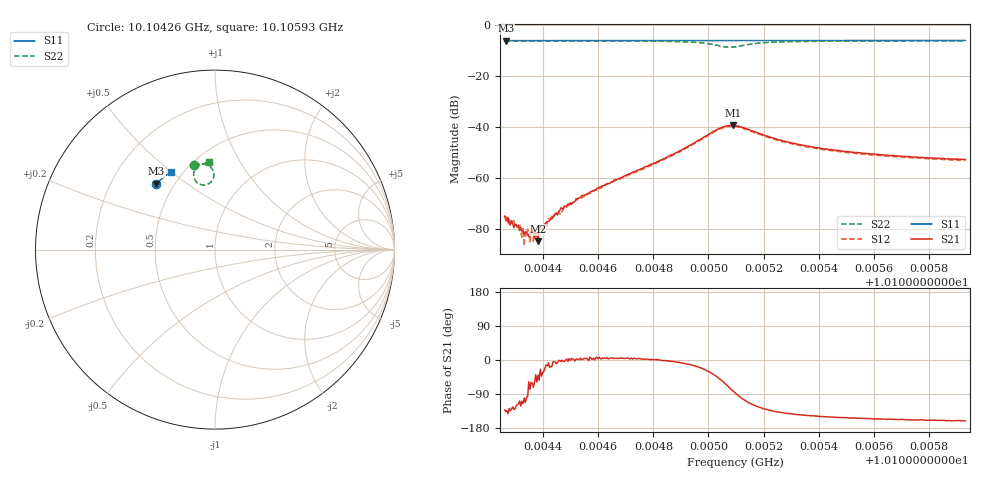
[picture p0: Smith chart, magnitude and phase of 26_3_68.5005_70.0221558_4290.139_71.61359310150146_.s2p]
#  HZ  S  RI  R  50.00
! Rohde & Schwarz Vector Network Analyzer
! Rohde-Schwarz,ZNB20-2Port,1311601062101988,3.16
! Created: UTC 3/20/2024, 4:49:44 PM
! freq[Hz]  re:S11  im:S11  re:S21  im:S21  re:S12  im:S12  re:S22  im:S22
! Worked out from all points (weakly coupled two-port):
!   401 points, 10.10426 GHz to 10.10593 GHz, reference 50 ohm
!   highest |S21| = -39.41 dB at 10.10509 GHz (marker M1); lowest = -84.9 dB at 10.10438 GHz (marker M2)
!   lowest |S11| = -6.2 dB at 10.10426 GHz (marker M3), VSWR 2.94, Z = 20 + j19.4 ohm
!   |S11| at or under -10 dB: nowhere
!   |S22| runs from -8.8 to -6.3 dB; largest |S21 - S12| = 0.0011
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1.010426e10  -0.3274 0.3673  -0.000119 -0.000132  -0.000122 -0.000133  -0.1163 0.4702
1.0104264e10  -0.3272 0.3674  -0.000127 -0.00012  -6.22e-05 -0.000129  -0.1161 0.4703
1.0104272e10  -0.3268 0.368  -0.000132 -0.000104  -7.32e-05 -0.000111  -0.1154 0.4705
1.0104285e10  -0.3262 0.3684  -9.02e-05 -0.000113  -8.46e-05 -0.000116  -0.1143 0.4709
1.0104323e10  -0.3247 0.37  -2.93e-05 -8.6e-05  -3.31e-05 -6.03e-05  -0.1115 0.4715
1.0104348e10  -0.3235 0.3711  3.81e-05 -5.93e-05  1.84e-05 -8.57e-05  -0.1096 0.472
1.0104381e10  -0.3218 0.3725  4.39e-05 -3.61e-05  9.49e-05 -5.53e-05  -0.1068 0.4727
1.0104402e10  -0.321 0.3735  8.84e-05 -5.24e-05  0.000106 4.07e-06  -0.1051 0.4731
1.0104423e10  -0.32 0.3742  0.000136 -4.83e-05  0.000158 -1.67e-05  -0.1034 0.4732
1.0104469e10  -0.3181 0.3762  0.00025 -2.2e-06  0.000218 3.24e-06  -0.0994 0.4742
1.0104482e10  -0.3175 0.3766  0.000276 9.87e-07  0.000285 2.43e-06  -0.0982 0.4745
1.010454e10  -0.3148 0.3791  0.000452 1.34e-05  0.000412 4.89e-05  -0.0926 0.4753
1.0104632e10  -0.3106 0.3828  0.000756 8.42e-05  0.000737 0.000136  -0.0831 0.4764
1.010482e10  -0.3018 0.3903  0.00217 1.44e-05  0.00206 0.000185  -0.0559 0.4753
1.0104958e10  -0.2951 0.3957  0.00502 -0.00159  0.00489 -0.00108  -0.0188 0.4534
1.0105038e10  -0.2911 0.3982  0.00617 -0.00692  0.00649 -0.00606  -0.0115 0.3915
1.0105088e10  -0.289 0.3999  0.00167 -0.0106  0.00253 -0.00999  -0.0673 0.3598
1.0105096e10  -0.2887 0.4002  0.000664 -0.0106  0.00158 -0.0101  -0.0783 0.3619
1.0105201e10  -0.2841 0.4043  -0.00432 -0.0054  -0.00369 -0.00553  -0.1169 0.4326
1.0105376e10  -0.2755 0.4108  -0.00341 -0.00221  -0.00307 -0.00237  -0.0886 0.4687
1.0105657e10  -0.2617 0.4208  -0.00252 -0.0011  -0.00233 -0.0013  -0.0585 0.4809
1.0105933e10  -0.2478 0.4301  -0.00215 -0.000779  -0.00198 -0.000913  -0.0361 0.4855
